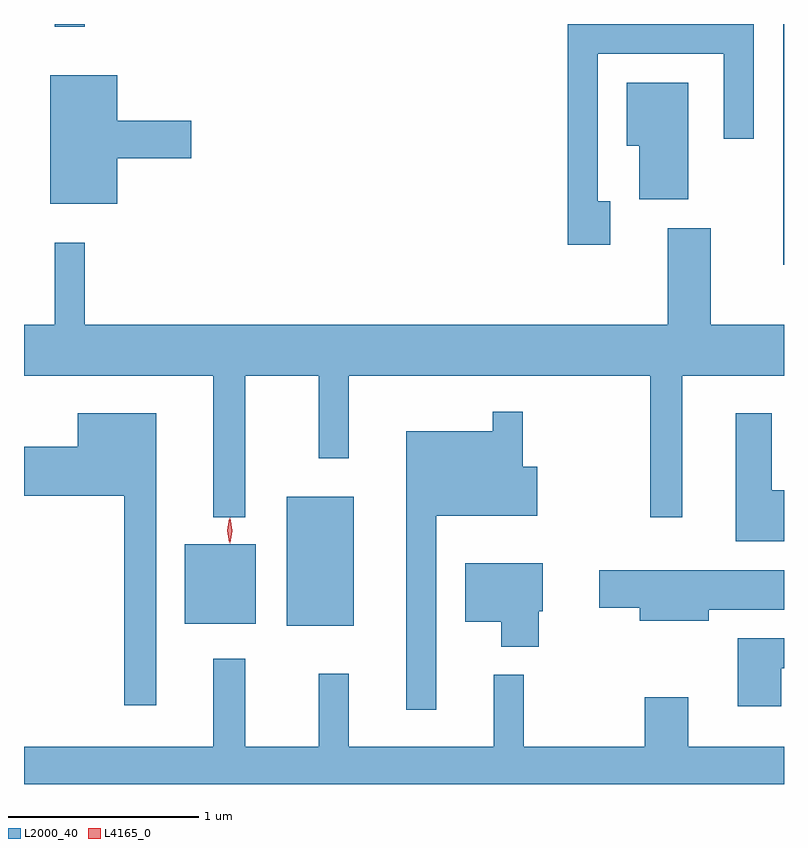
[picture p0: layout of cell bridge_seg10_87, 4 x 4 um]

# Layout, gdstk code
import gdstk
lib = gdstk.Library(unit=1e-6, precision=1e-09)
def R(c, l, rs):  # rectangles x0, y0, x1, y1
    for r in rs: c.add(gdstk.rectangle(r[:2], r[2:], *l))
def P(c, l, *ps):  # polygons
    for p in ps: c.add(gdstk.Polygon(p, *l))
L2000_40 = (2000, 40)
L4165_0 = (4165, 0)

bridge_seg10_87 = lib.new_cell('bridge_seg10_87')
R(bridge_seg10_87, L2000_40, [(1556.536,2205.841,1556.889,2206.519), (1556.001,2205.851,1556.374,2206.269), (1559.151,2207.741,1559.154,2209.008), (1555.316,2208.993,1555.474,2209.008)])
P(bridge_seg10_87, L2000_40, [(1558.239,2208.074),(1558.174,2208.074),(1558.174,2208.851),(1558.836,2208.851),(1558.836,2208.403),(1558.994,2208.403),(1558.994,2209.008),(1558.016,2209.008),(1558.016,2207.846),(1558.239,2207.846)],
  [(1555.644,2208.301),(1556.034,2208.301),(1556.034,2208.499),(1555.644,2208.499),(1555.644,2208.739),(1555.291,2208.739),(1555.291,2208.061),(1555.644,2208.061)],
  [(1558.649,2208.699),(1558.326,2208.699),(1558.326,2208.366),(1558.391,2208.366),(1558.391,2208.086),(1558.649,2208.086)],
  [(1556.319,2207.156),(1556.706,2207.156),(1556.706,2206.723),(1556.864,2206.723),(1556.864,2207.156),(1558.451,2207.156),(1558.451,2206.413),(1558.619,2206.413),(1558.619,2207.156),(1559.154,2207.156),(1559.154,2207.424),(1558.769,2207.424),(1558.769,2207.934),(1558.541,2207.934),(1558.541,2207.424),(1555.474,2207.424),(1555.474,2207.858),(1555.316,2207.858),(1555.316,2207.424),(1555.154,2207.424),(1555.154,2207.156),(1556.151,2207.156),(1556.151,2206.413),(1556.319,2206.413)],
  [(1557.324,2206.421),(1557.854,2206.421),(1557.854,2206.679),(1557.779,2206.679),(1557.779,2206.968),(1557.621,2206.968),(1557.621,2206.864),(1557.166,2206.864),(1557.166,2205.398),(1557.324,2205.398)],
  [(1559.154,2206.554),(1559.089,2206.554),(1559.089,2206.959),(1558.901,2206.959),(1558.901,2206.286),(1559.154,2206.286)],
  [(1555.849,2206.959),(1555.436,2206.959),(1555.436,2206.784),(1555.154,2206.784),(1555.154,2206.526),(1555.681,2206.526),(1555.681,2205.423),(1555.849,2205.423)],
  [(1557.864,2205.916),(1557.884,2205.916),(1557.884,2206.169),(1557.476,2206.169),(1557.476,2205.861),(1557.666,2205.861),(1557.666,2205.731),(1557.864,2205.731)],
  [(1558.759,2205.926),(1559.154,2205.926),(1559.154,2206.134),(1558.181,2206.134),(1558.181,2205.936),(1558.396,2205.936),(1558.396,2205.866),(1558.759,2205.866)],
  [(1559.139,2205.616),(1559.154,2205.616),(1559.154,2205.774),(1558.911,2205.774),(1558.911,2205.416),(1559.139,2205.416)],
  [(1559.154,2205.204),(1558.649,2205.204),(1558.649,2205.464),(1558.421,2205.464),(1558.421,2205.204),(1557.784,2205.204),(1557.784,2205.583),(1557.626,2205.583),(1557.626,2205.204),(1556.864,2205.204),(1556.864,2205.588),(1556.706,2205.588),(1556.706,2205.204),(1556.319,2205.204),(1556.319,2205.668),(1556.151,2205.668),(1556.151,2205.204),(1555.154,2205.204),(1555.154,2205.008),(1559.154,2205.008)])
P(bridge_seg10_87, L4165_0, [(1556.234,2206.278),(1556.234,2206.279),(1556.224,2206.343),(1556.234,2206.407),(1556.234,2206.408),(1556.235,2206.407),(1556.244,2206.343),(1556.235,2206.279)],
  [(1556.239,2206.274),(1556.23,2206.342),(1556.239,2206.41),(1556.24,2206.41),(1556.24,2206.41),(1556.25,2206.342),(1556.24,2206.274),(1556.24,2206.274)])

lib.write_gds('bridge_seg10_87.gds')
